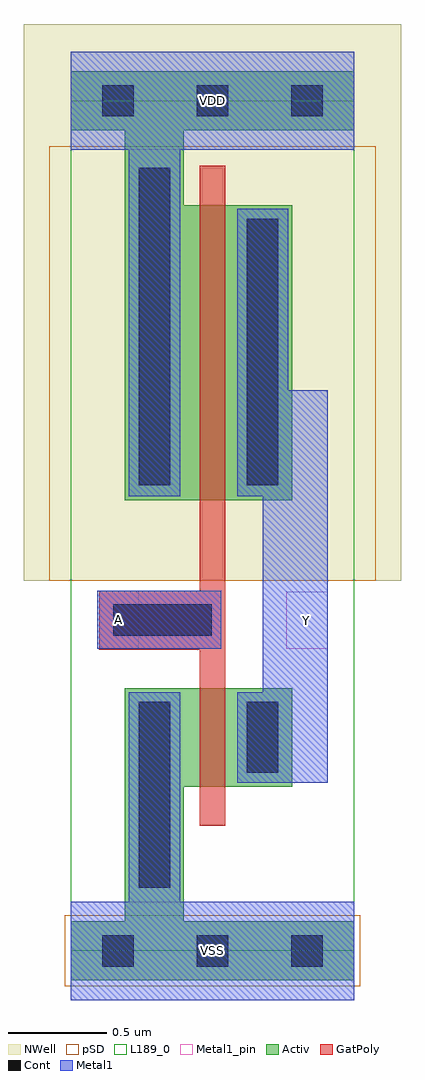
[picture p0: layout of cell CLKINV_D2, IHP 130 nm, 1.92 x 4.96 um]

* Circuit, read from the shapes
.subckt CLKINV_D2 A VDD VSS Y
XM1 Y A VSS VSS sg13_lv_nmos w=0.5u l=0.13u
XM2 Y A VDD VDD sg13_lv_pmos w=1.5u l=0.13u
.ends

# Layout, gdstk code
import gdstk
lib = gdstk.Library(unit=1e-6, precision=1e-09)
def R(c, l, rs):  # rectangles x0, y0, x1, y1
    for r in rs: c.add(gdstk.rectangle(r[:2], r[2:], *l))
def A(c, l, x, y, w, h, nx, ny, dx, dy):  # array of equal rectangles
    R(c, l, [(x+i*dx, y+j*dy, x+i*dx+w, y+j*dy+h) for i in range(nx) for j in range(ny)])
def P(c, l, *ps):  # polygons
    for p in ps: c.add(gdstk.Polygon(p, *l))
Activ = (1, 0)
GatPoly = (5, 0)
Cont = (6, 0)
Metal1 = (8, 0)
Metal1_pin = (8, 2)
pSD = (14, 0)
NWell = (31, 0)
L189_0 = (189, 0)

clkinv_d2 = lib.new_cell('CLKINV_D2')
P(clkinv_d2, Activ, [(0.275,2.29),(0.275,4.17),(0,4.17),(0,4.47),(1.44,4.47),(1.44,4.17),(0.575,4.17),(0.575,3.79),(1.125,3.79),(1.125,2.29)],
  [(0,-0.15),(0,0.15),(0.275,0.15),(0.275,1.335),(1.125,1.335),(1.125,0.835),(0.575,0.835),(0.575,0.15),(1.44,0.15),(1.44,-0.15)])
P(clkinv_d2, GatPoly, [(0.655,0.635),(0.655,1.53),(0.145,1.53),(0.145,1.83),(0.655,1.83),(0.655,3.99),(0.785,3.99),(0.785,0.635)])
A(clkinv_d2, Cont, 0.16, -0.08, 0.16, 0.16, 3, 2, 0.48, 4.32)
R(clkinv_d2, Cont, [(0.345,0.32,0.505,1.265), (0.895,0.905,1.055,1.265), (0.215,1.6,0.715,1.76), (0.345,2.365,0.505,3.98), (0.895,2.365,1.055,3.72)])
R(clkinv_d2, Metal1, [(0.135,1.535,0.765,1.83)])
P(clkinv_d2, Metal1, [(0.295,2.31),(0.295,4.07),(0,4.07),(0,4.57),(1.44,4.57),(1.44,4.07),(0.555,4.07),(0.555,2.31)],
  [(0.845,0.855),(0.845,1.315),(0.975,1.315),(0.975,2.31),(0.845,2.31),(0.845,3.77),(1.105,3.77),(1.105,2.85),(1.305,2.85),(1.305,0.855)],
  [(0,-0.25),(0,0.25),(0.295,0.25),(0.295,1.315),(0.555,1.315),(0.555,0.25),(1.44,0.25),(1.44,-0.25)])
R(clkinv_d2, Metal1_pin, [(0,-0.25,1.44,0.25), (0.135,1.535,0.345,1.83), (1.095,1.535,1.305,1.825), (0,4.07,1.44,4.57)])
R(clkinv_d2, pSD, [(-0.03,-0.18,1.47,0.18), (-0.11,1.88,1.55,4.09)])
R(clkinv_d2, NWell, [(-0.24,1.88,1.68,4.71)])
R(clkinv_d2, L189_0, [(0,0,1.44,4.32)])
clkinv_d2.add(gdstk.Label('VSS', (0.72,0), layer=8, texttype=25))
clkinv_d2.add(gdstk.Label('VDD', (0.72,4.32), layer=8, texttype=25))
clkinv_d2.add(gdstk.Label('Y', (1.2,1.68), layer=8, texttype=25))
clkinv_d2.add(gdstk.Label('A', (0.24,1.685), layer=8, texttype=25))

lib.write_gds('CLKINV_D2.gds')
